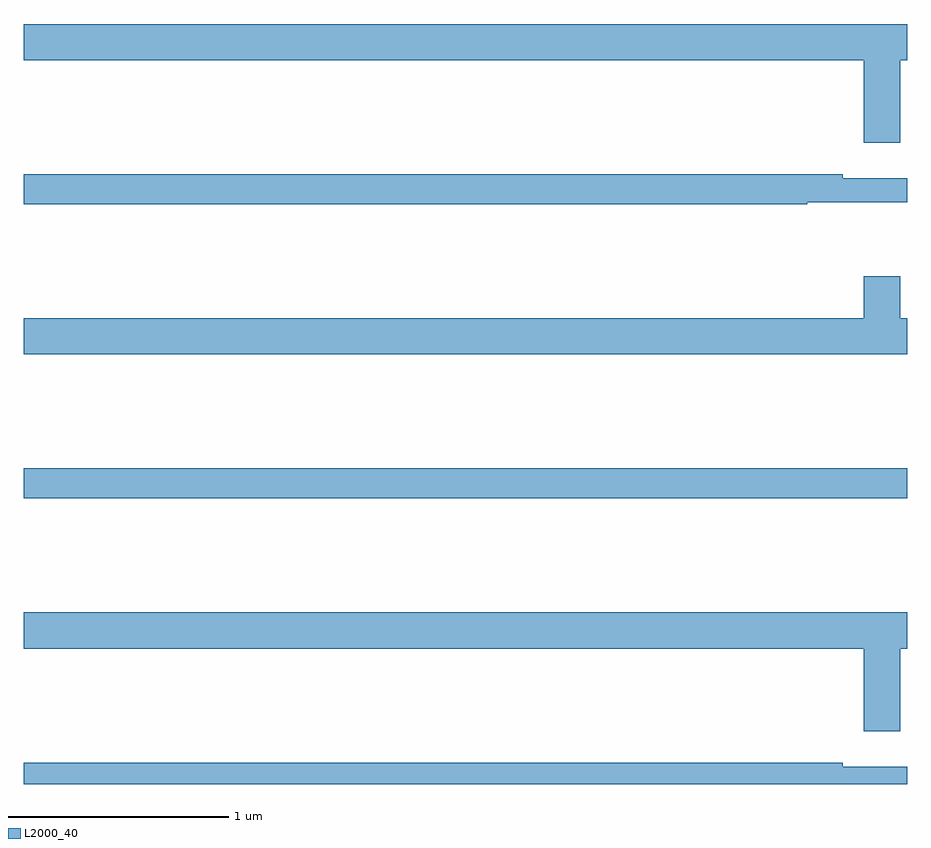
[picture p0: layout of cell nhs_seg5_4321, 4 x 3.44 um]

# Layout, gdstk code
import gdstk
lib = gdstk.Library(unit=1e-6, precision=1e-09)
def R(c, l, rs):  # rectangles x0, y0, x1, y1
    for r in rs: c.add(gdstk.rectangle(r[:2], r[2:], *l))
def P(c, l, *ps):  # polygons
    for p in ps: c.add(gdstk.Polygon(p, *l))
L2000_40 = (2000, 40)

nhs_seg5_4321 = lib.new_cell('nhs_seg5_4321')
R(nhs_seg5_4321, L2000_40, [(365,872.092,369,872.228)])
P(nhs_seg5_4321, L2000_40, [(368.968,874.076),(369,874.076),(369,874.24),(365,874.24),(365,874.076),(368.804,874.076),(368.804,873.702),(368.968,873.702)],
  [(368.548,873.432),(369,873.432),(369,873.541),(368.708,873.541),(368.708,873.56),(365,873.56),(365,873.424),(368.548,873.424)],
  [(369,872.908),(368.968,872.908),(368.968,873.097),(368.804,873.097),(368.804,872.908),(365,872.908),(365,872.744),(369,872.744)],
  [(368.968,871.412),(369,871.412),(369,871.576),(365,871.576),(365,871.412),(368.804,871.412),(368.804,871.038),(368.968,871.038)],
  [(369,870.877),(368.708,870.877),(368.708,870.896),(365,870.896),(365,870.799),(369,870.799)])

lib.write_gds('nhs_seg5_4321.gds')
